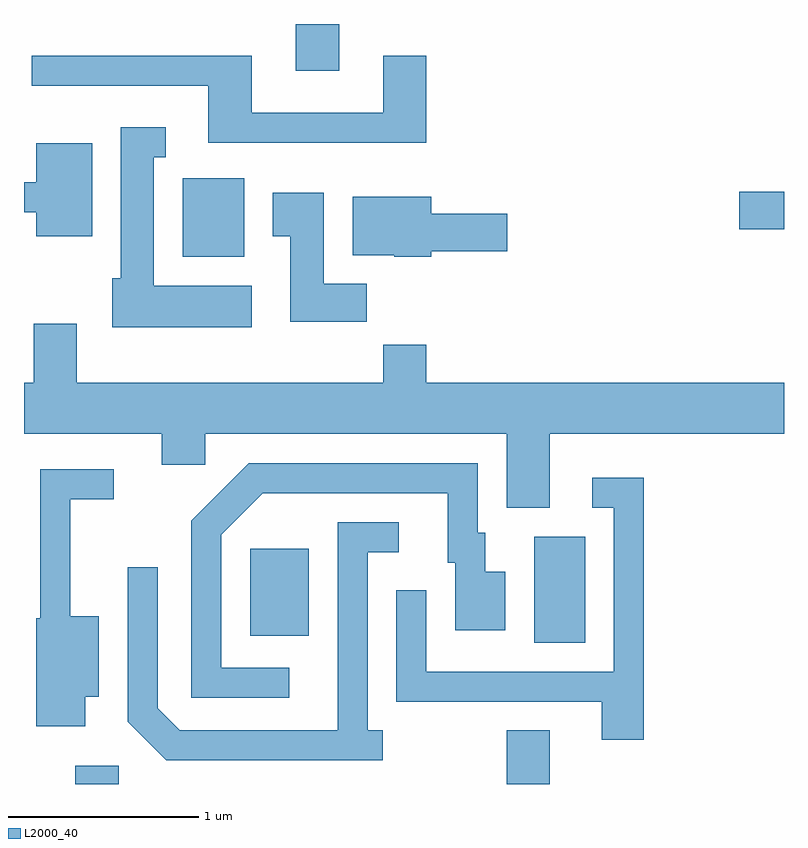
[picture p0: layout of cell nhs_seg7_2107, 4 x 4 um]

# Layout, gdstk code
import gdstk
lib = gdstk.Library(unit=1e-6, precision=1e-09)
def R(c, l, rs):  # rectangles x0, y0, x1, y1
    for r in rs: c.add(gdstk.rectangle(r[:2], r[2:], *l))
def P(c, l, *ps):  # polygons
    for p in ps: c.add(gdstk.Polygon(p, *l))
L2000_40 = (2000, 40)

nhs_seg7_2107 = lib.new_cell('nhs_seg7_2107')
R(nhs_seg7_2107, L2000_40, [(249.881,1710.252,250.109,1710.349), (252.151,1710.252,252.379,1710.534), (252.296,1710.996,252.564,1711.554), (250.801,1711.031,251.109,1711.489), (250.446,1713.026,250.769,1713.439), (253.376,1713.171,253.611,1713.369), (251.041,1714.006,251.269,1714.252)])
P(nhs_seg7_2107, L2000_40, [(251.729,1714.084),(251.501,1714.084),(251.501,1713.784),(250.809,1713.784),(250.809,1714.084),(249.653,1714.084),(249.653,1713.926),(250.581,1713.926),(250.581,1713.626),(251.729,1713.626)],
  [(250.809,1712.874),(250.294,1712.874),(250.294,1713.551),(250.358,1713.551),(250.358,1713.709),(250.121,1713.709),(250.121,1712.914),(250.076,1712.914),(250.076,1712.656),(250.809,1712.656)],
  [(249.969,1713.624),(249.676,1713.624),(249.676,1713.419),(249.611,1713.419),(249.611,1713.261),(249.676,1713.261),(249.676,1713.136),(249.969,1713.136)],
  [(251.414,1712.884),(251.189,1712.884),(251.189,1713.364),(250.921,1713.364),(250.921,1713.136),(251.011,1713.136),(251.011,1712.686),(251.414,1712.686)],
  [(251.754,1713.056),(252.154,1713.056),(252.154,1713.254),(251.754,1713.254),(251.754,1713.344),(251.341,1713.344),(251.341,1713.036),(251.56,1713.036),(251.56,1713.026),(251.754,1713.026)],
  [(252.379,1712.096),(253.611,1712.096),(253.611,1712.364),(251.729,1712.364),(251.729,1712.564),(251.501,1712.564),(251.501,1712.364),(249.889,1712.364),(249.889,1712.674),(249.661,1712.674),(249.661,1712.364),(249.611,1712.364),(249.611,1712.096),(250.336,1712.096),(250.336,1711.931),(250.564,1711.931),(250.564,1712.096),(252.151,1712.096),(252.151,1711.706),(252.379,1711.706)],
  [(251.008,1710.864),(250.649,1710.864),(250.649,1711.564),(250.867,1711.781),(251.841,1711.781),(251.841,1711.416),(251.881,1711.416),(251.881,1711.061),(252.144,1711.061),(252.144,1711.369),(252.039,1711.369),(252.039,1711.574),(251.999,1711.574),(251.999,1711.939),(250.794,1711.939),(250.491,1711.637),(250.491,1710.706),(251.008,1710.706)],
  [(249.934,1710.711),(250.004,1710.711),(250.004,1711.134),(249.854,1711.134),(249.854,1711.751),(250.083,1711.751),(250.083,1711.909),(249.696,1711.909),(249.696,1711.124),(249.676,1711.124),(249.676,1710.556),(249.934,1710.556)],
  [(252.874,1711.864),(252.603,1711.864),(252.603,1711.706),(252.716,1711.706),(252.716,1710.844),(251.729,1710.844),(251.729,1711.273),(251.571,1711.273),(251.571,1710.686),(252.651,1710.686),(252.651,1710.486),(252.874,1710.486)],
  [(251.498,1710.534),(251.419,1710.534),(251.419,1711.471),(251.583,1711.471),(251.583,1711.629),(251.261,1711.629),(251.261,1710.534),(250.432,1710.534),(250.314,1710.652),(250.314,1711.393),(250.156,1711.393),(250.156,1710.579),(250.359,1710.376),(251.498,1710.376)])

lib.write_gds('nhs_seg7_2107.gds')
